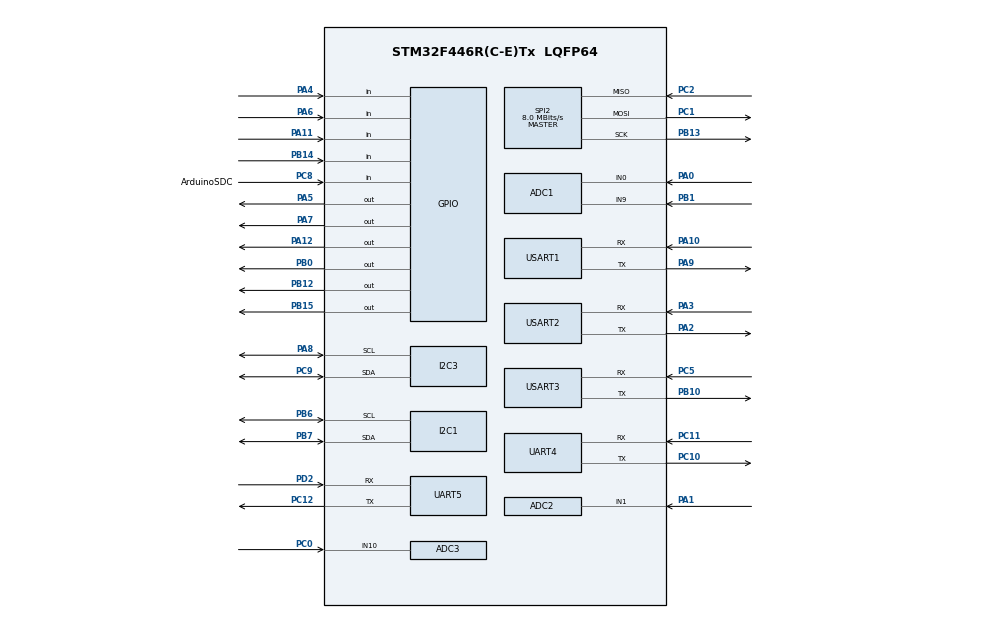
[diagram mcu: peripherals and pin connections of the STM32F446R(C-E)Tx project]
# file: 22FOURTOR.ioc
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ADC1.Channel-1\#ChannelRegularConversion=ADC_CHANNEL_0
ADC1.Channel-2\#ChannelRegularConversion=ADC_CHANNEL_9
ADC1.ContinuousConvMode=ENABLE
ADC1.NbrOfConversion=2
ADC1.NbrOfConversionFlag=1
ADC1.Rank-1\#ChannelRegularConversion=1
ADC1.Rank-2\#ChannelRegularConversion=2
ADC1.SamplingTime-1\#ChannelRegularConversion=ADC_SAMPLETIME_3CYCLES
ADC1.SamplingTime-2\#ChannelRegularConversion=ADC_SAMPLETIME_15CYCLES
ADC1.master=1
ADC2.Channel-5\#ChannelRegularConversion=ADC_CHANNEL_1
ADC2.NbrOfConversionFlag=1
ADC2.Rank-5\#ChannelRegularConversion=1
ADC2.SamplingTime-5\#ChannelRegularConversion=ADC_SAMPLETIME_3CYCLES
ADC3.Channel-3\#ChannelRegularConversion=ADC_CHANNEL_10
ADC3.NbrOfConversionFlag=1
ADC3.Rank-3\#ChannelRegularConversion=1
ADC3.SamplingTime-3\#ChannelRegularConversion=ADC_SAMPLETIME_3CYCLES
Mcu.Family=STM32F4
Mcu.Name=STM32F446R(C-E)Tx
Mcu.Package=LQFP64
NVIC.PriorityGroup=NVIC_PRIORITYGROUP_4
PA0-WKUP.Signal=ADCx_IN0
PA1.Signal=ADCx_IN1
PA10.Mode=Asynchronous
PA10.Signal=USART1_RX
PA11.Signal=GPIO_Input
PA12.Signal=GPIO_Output
PA2.Mode=Asynchronous
PA2.Signal=USART2_TX
PA3.Mode=Asynchronous
PA3.Signal=USART2_RX
PA4.Signal=GPIO_Input
PA5.Signal=GPIO_Output
PA6.Signal=GPIO_Input
PA7.Signal=GPIO_Output
PA8.GPIO_Mode=GPIO_MODE_AF_OD
PA8.GPIO_PuPdOD=GPIO_PULLUP
PA8.GPIO_Speed=GPIO_SPEED_FREQ_VERY_HIGH
PA8.Mode=I2C
PA8.Signal=I2C3_SCL
PA9.Mode=Asynchronous
PA9.Signal=USART1_TX
PB0.Signal=GPIO_Output
PB1.Signal=ADCx_IN9
PB10.Mode=Asynchronous
PB10.Signal=USART3_TX
PB12.GPIO_ModeDefaultOutputPP=GPIO_MODE_OUTPUT_PP
PB12.GPIO_PuPd=GPIO_NOPULL
PB12.GPIO_Speed=GPIO_SPEED_FREQ_LOW
PB12.PinState=GPIO_PIN_RESET
PB12.Signal=GPIO_Output
PB13.Mode=Full_Duplex_Master
PB13.Signal=SPI2_SCK
PB14.Signal=GPIO_Input
PB15.Signal=GPIO_Output
PB6.Mode=I2C
PB6.Signal=I2C1_SCL
PB7.Mode=I2C
PB7.Signal=I2C1_SDA
PC0.Signal=ADCx_IN10
PC1.Mode=Full_Duplex_Master
PC1.Signal=SPI2_MOSI
PC10.Mode=Asynchronous
PC10.Signal=UART4_TX
PC11.Mode=Asynchronous
PC11.Signal=UART4_RX
PC12.Mode=Asynchronous
PC12.Signal=UART5_TX
PC2.Mode=Full_Duplex_Master
PC2.Signal=SPI2_MISO
PC5.Mode=Asynchronous
PC5.Signal=USART3_RX
PC8.GPIO_Label=ArduinoSDC
PC8.Signal=GPIO_Input
PC9.GPIO_Mode=GPIO_MODE_AF_OD
PC9.GPIO_PuPdOD=GPIO_PULLUP
PC9.GPIO_Speed=GPIO_SPEED_FREQ_VERY_HIGH
PC9.Mode=I2C
PC9.Signal=I2C3_SDA
PD2.Mode=Asynchronous
PD2.Signal=UART5_RX
ProjectManager.HeapSize=0x200
ProjectManager.StackSize=0x400
ProjectManager.TargetToolchain=STM32CubeIDE
RCC.CortexFreq_Value=16000000
RCC.USBFreq_Value=96000000
RCC.VCOOutputFreq_Value=192000000
SH.ADCx_IN0.0=ADC1_IN0,IN0
SH.ADCx_IN1.0=ADC2_IN1,IN1
SH.ADCx_IN10.0=ADC3_IN10,IN10
SH.ADCx_IN9.0=ADC1_IN9,IN9
SPI2.CalculateBaudRate=8.0 MBits/s
SPI2.Direction=SPI_DIRECTION_2LINES
SPI2.Mode=SPI_MODE_MASTER
SPI2.VirtualType=VM_MASTER
UART4.VirtualMode=Asynchronous
UART5.VirtualMode=Asynchronous
USART1.VirtualMode=VM_ASYNC
USART2.VirtualMode=VM_ASYNC
USART3.VirtualMode=VM_ASYNC
board=custom

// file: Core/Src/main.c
/* USER CODE BEGIN Header */
/**
 ******************************************************************************
 * @file           : main.c
 * @brief          : Main program body
 ******************************************************************************
 * @attention
 *
 * <h2><center>&copy; Copyright (c) 2022 STMicroelectronics.
 * All rights reserved.</center></h2>
 *
 * This software component is licensed by ST under BSD 3-Clause license,
 * the "License"; You may not use this file except in compliance with the
 * License. You may obtain a copy of the License at:
 *                        opensource.org/licenses/BSD-3-Clause
 *
 ******************************************************************************
 */
/* USER CODE END Header */
#include "main.h"

/* USER CODE BEGIN Includes */
#include "stdio.h"
#include "math.h"
#include "stm32f4xx_hal.h"
#include "stdio.h"
#include "string.h"
#include "bno055.h"
#include "bno055_stm32.h"
#include "CANSPI.h"
#include "MCP2515.h"
#include <stdlib.h>
#include "i2c-lcd.h"
#include "stm32_tm1637.h"
#include "i2c.h"
#include "wifi_ubidots.h"

/* USER CODE END Includes */

/* USER CODE BEGIN PTD */
#define min(a,b) (((a) < (b)) ? (a) : (b))
#define max(a,b) (((a) > (b)) ? (a) : (b))
/* USER CODE END PTD */

ADC_HandleTypeDef hadc1;
ADC_HandleTypeDef hadc2;
ADC_HandleTypeDef hadc3;

I2C_HandleTypeDef hi2c1;
I2C_HandleTypeDef hi2c3;

SPI_HandleTypeDef hspi2;

UART_HandleTypeDef huart4;
UART_HandleTypeDef huart5;
UART_HandleTypeDef huart1;
UART_HandleTypeDef huart2;
UART_HandleTypeDef huart3;

void SystemClock_Config(void);
static void MX_GPIO_Init(void);
static void MX_SPI2_Init(void);
static void MX_USART2_UART_Init(void);
static void MX_UART4_Init(void);
static void MX_USART3_UART_Init(void);
static void MX_UART5_Init(void);
static void MX_ADC1_Init(void);
static void MX_USART1_UART_Init(void);
static void MX_ADC3_Init(void);
static void MX_ADC2_Init(void);

/* USER CODE BEGIN 0 */

/*
int32_t vADC1;
int32_t vADC2;
int32_t vADC3;
 */

// VALUE :  correlated to battery pack's temperature

#define ADC1_Channel_num 2
int ADCval;

float TempTest;
float Temp;
float Temp_conversion;

float vADC1[ADC1_Channel_num];
float vADC2;
float vADC3;
float Btemp;						// average temperature from 4 ADC to temp value

char buffer[100]=" ";				// buffer to read each battery pack's temperature
char string_temperature[6];			// buffer to send average temperature of 4 battery pack
char string_voltage[6];				// buffer to read each battery pack's voltage

char IMU[100]=" ";

int row;							// row line at LCD
int col;							// column line at LCD

uint8_t receive_data[7];			// received buffer from Arduino Master BMS
float percent_of_batt;				// percentage value of batter voltage

/* VALUE : CANOPEN

uCAN_MSG txMessage;
uCAN_MSG rxMessage;

uint32_t RPM;
float torque;
float temp;

 */

uint8_t Rbuff[100];
uint8_t msg[256];
uint8_t Tbuff[256];
uint8_t TempBuff[256];

void PrintString(uint8_t * string)
{
	HAL_UART_Transmit(&huart2, (uint8_t *)string, strlen((char *)string), 0xffff);
}

// void CANopen(void);
void ADC1_Select_CH0(void);
void ADC1_Select_CH9(void);
float ADCtoTemp(float ADCval);

char str[100]="22 KSAE FOURTOR\r\n";

// char bad[100]="Thermal Protector : DISCONNECTED\r\n";
// char good[100]="Thermal Protector : CONNECTED\r\n";
// char bms[100]="Receive BMS signal from Arudino\r\n";

char BMSbuff[100]="";

/* USER CODE END 0 */

int main(void)
{

	/* MCU Configuration--------------------------------------------------------*/

	/* Reset of all peripherals, Initializes the Flash interface and the Systick. */
	HAL_Init();

	/* Configure the system clock */
	SystemClock_Config();

	/* Initialize all configured peripherals */
	MX_GPIO_Init();
	MX_I2C1_Init();
	MX_SPI2_Init();
	MX_USART2_UART_Init();
	MX_UART4_Init();
	MX_USART3_UART_Init();
	MX_UART5_Init();
	MX_ADC1_Init();
	MX_I2C3_Init();
	MX_USART1_UART_Init();
	MX_ADC3_Init();
	MX_ADC2_Init();

	/* USER CODE BEGIN 2 */
	PrintString(str);

//	CANSPI_Initialize();

	lcd_init();
	lcd_clear();
	HAL_Delay(20);
	lcd_put_cur(0,0);
	HAL_Delay(20);
	lcd_send_string((char*)"B.Temp: init");
	lcd_put_cur(1,0);
	HAL_Delay(20);
	lcd_send_string((char*)"B.Vol: init");

	tm1637Init();
	tm1637SetBrightness(5);

	// ------------------------------------ **** IMU Setting ****------------------------------------

	bno055_calibration_data_t calData;
	bno055_assignI2C(&hi2c3);
	bno055_setup();
	bno055_setCalibrationData(calData);//Set init
	bno055_setOperationMode(BNO055_OPERATION_MODE_IMU);//작동 모드
	// bno055_setPowerMode(BNO55_POWER_MODE_LOWPOWER);//파워 모드

	// WifiSetup();

	/* USER CODE END 2 */

	/* Infinite loop */
	/* USER CODE BEGIN WHILE */
	while (1)
	{
		//------------------------------------ **** CANopen Setting ****------------------------------------//

		// CANopen();

		//------------------------------------ **** Temperature sensing ****------------------------------------//

		/* [seki 22] Digital signal pin
		 * Temperature signal using seki 22
		 */

		HAL_GPIO_WritePin(GPIOA, GPIO_PIN_5, GPIO_PIN_SET);
		GPIO_PinState PinStat_seg1 = HAL_GPIO_ReadPin(GPIOA, GPIO_PIN_4);

		HAL_GPIO_WritePin(GPIOA, GPIO_PIN_7, GPIO_PIN_SET);
		GPIO_PinState PinStat_seg2 = HAL_GPIO_ReadPin(GPIOA, GPIO_PIN_6);

		HAL_GPIO_WritePin(GPIOB, GPIO_PIN_15, GPIO_PIN_SET);
		GPIO_PinState PinStat_seg3 = HAL_GPIO_ReadPin(GPIOB, GPIO_PIN_14);

		HAL_GPIO_WritePin(GPIOA, GPIO_PIN_12, GPIO_PIN_SET);
		GPIO_PinState PinStat_seg4 = HAL_GPIO_ReadPin(GPIOA, GPIO_PIN_11);

		GPIO_PinState Thermal=(PinStat_seg1&&PinStat_seg2)&&(PinStat_seg3&&PinStat_seg4);

		/*
		GPIO_PinState PinStat=PinStat_seg4;

		if(!PinStat){
			PrintString(bad);
		}
		PrintString(good);
		 */

		/*		[NTC] analog read pin
		 * 		Code for ADC1
		HAL_ADC_Start(&hadc1);
		if(HAL_ADC_PollForConversion(&hadc1, 5)==HAL_OK)
		{
			vADC1 = HAL_ADC_GetValue(&hadc1);
			Btemp = vADC1 * (3.3/4095);
			Btemp = (Btemp *9840)/(3.3-Btemp);

			Btemp = (298.15*3700)/(298.15*log(9840/Btemp)+3700);
			Btemp = Btemp - 273.15;

			sprintf(buffer,"ADC 1 : %.2f \r\n",Btemp);
		}
		if (isnan(Btemp) == 0)
		{
			HAL_UART_Transmit(&huart2,(uint8_t*)buffer,sizeof(buffer),1000);
			HAL_Delay(100);
		}
		*/
		/*

		HAL_ADC_Start(&hadc2);
		if(HAL_ADC_PollForConversion(&hadc2, 5)==HAL_OK)
		{
			vADC2 = HAL_ADC_GetValue(&hadc2);
			vADC2 = vADC2 * (3.3/4095);
			vADC2 = (vADC2 *9840)/(3.3-vADC2);

			vADC2 = (298.15*3700)/(298.15*log(9840/vADC2)+3700);
			vADC2 = vADC2 - 273.15;
		}

		HAL_ADC_Start(&hadc3);
		if(HAL_ADC_PollForConversion(&hadc3, 5)==HAL_OK)
		{
			vADC3 = HAL_ADC_GetValue(&hadc3);
			vADC3 = vADC3 * (3.3/4095);
			vADC3 = (vADC3 *9840)/(3.3-vADC3);

			vADC3 = (298.15*3700)/(298.15*log(9840/vADC3)+3700);
			vADC3 = vADC3 - 273.15;

		}
		sprintf(buffer,"ADC 2 : %.2f \r\n",vADC2);
		if (isnan(vADC1[1]) == 0)
		{
			HAL_UART_Transmit(&huart2,(uint8_t*)buffer,sizeof(buffer),1000);
			HAL_Delay(100);
		}
		*/

		ADC1_Select_CH0();
		HAL_ADC_Start(&hadc1);
		HAL_ADC_PollForConversion(&hadc1,1000);
		vADC1[0]=HAL_ADC_GetValue(&hadc1);
		HAL_ADC_Stop(&hadc1);
		vADC1[0] = ADCtoTemp(vADC1[0]);

		ADC1_Select_CH9();
		HAL_ADC_Start(&hadc1);
		HAL_ADC_PollForConversion(&hadc1,1000);
		vADC1[1]=HAL_ADC_GetValue(&hadc1);
		HAL_ADC_Stop(&hadc1);
		vADC1[1] = ADCtoTemp(vADC1[1]);

		HAL_ADC_Start(&hadc2);
		HAL_ADC_PollForConversion(&hadc2,5);
		vADC2=HAL_ADC_GetValue(&hadc2);
		HAL_ADC_Stop(&hadc2);
		vADC2 = ADCtoTemp(vADC2);

		HAL_ADC_Start(&hadc3);
		HAL_ADC_PollForConversion(&hadc3,5);
		vADC3=HAL_ADC_GetValue(&hadc3);
		HAL_ADC_Stop(&hadc3);
		vADC3 = ADCtoTemp(vADC3);

		Btemp = max(vADC1[0],vADC1[1]);
		Btemp = max(Btemp, vADC2);
		Btemp = max(Btemp, vADC3);

		// sprintf(buffer,"ADC1_CH0 : %.2f \r\nADC1_CH9 : %.2f\r\nADC2_CH1 : %.2f \r\nADC3_CH10: %.2f\r\nMAX: %.2f\r\n\n",vADC1[0],vADC1[1],vADC2,vADC3,Btemp);
		sprintf(buffer,"SEGMENT[1] : %f \r\nSEGMENT[2] : %f\r\nSEGMENT[3] : %f \r\nSEGMENT[4]: %f\r\nMAX: %f\r\n\n",vADC1[0],vADC1[1],vADC2,vADC3,Btemp);
		// PrintString(buffer);

		//------------------------------------ **** Master BMS ****------------------------------------//

		HAL_UART_Receive(&huart3,receive_data,7,200);						// Read Voltage and Celus temperature Data
		// sprintf(string_voltage,"%d.%dV",receive_data[1],receive_data[2]);	//Make String Voltage Data
		// sprintf(string_temperature,"%d'C",receive_data[0]);					//Make String temperature Data
		// HAL_UART_Transmit(&huart2,(char*)receive_data,strlen((char*)receive_data),1000);
		// HAL_UART_Transmit(&huart2,BMSbuff,strlen(BMSbuff),1000);

		// Tester
		/*
		sprintf(BMSbuff,"[1] : %c ",receive_data[0]);
		HAL_UART_Transmit(&huart2,BMSbuff,strlen(BMSbuff),1000);
		sprintf(BMSbuff,"[2] : %c ",receive_data[1]);
		HAL_UART_Transmit(&huart2,BMSbuff,strlen(BMSbuff),1000);
		sprintf(BMSbuff,"[3] : %c ",receive_data[2]);
		HAL_UART_Transmit(&huart2,BMSbuff,strlen(BMSbuff),1000);
		sprintf(BMSbuff,"[4] : %c ",receive_data[3]);
		HAL_UART_Transmit(&huart2,BMSbuff,strlen(BMSbuff),1000);
		sprintf(BMSbuff,"[5] : %c ",receive_data[4]);
		HAL_UART_Transmit(&huart2,BMSbuff,strlen(BMSbuff),1000);
		sprintf(BMSbuff,"[6] : %c ",receive_data[5]);
		HAL_UART_Transmit(&huart2,BMSbuff,strlen(BMSbuff),1000);
		sprintf(BMSbuff,"[7] : %c\n\r",receive_data[6]);
		HAL_UART_Transmit(&huart2,BMSbuff,strlen(BMSbuff),1000);
		HAL_Delay(100);
		*/

		// Transmit voltage value from Arduino
		sprintf(BMSbuff,"%c%c%c%c%c%c",receive_data[0],receive_data[1],receive_data[2],receive_data[3],receive_data[4],receive_data[5]);
		// HAL_UART_Transmit(&huart2,BMSbuff,strlen(BMSbuff),1000);

		//------------------------------------ **** Shut Down Circuit & Over load current shut down ****------------------------------------//

		HAL_GPIO_WritePin(GPIOB, GPIO_PIN_0, GPIO_PIN_SET);

		GPIO_PinState StateOfBMS = HAL_GPIO_ReadPin(GPIOC, GPIO_PIN_8);			// rx sig from Arduino
		GPIO_PinState SDC_ON = StateOfBMS && Thermal;

		//  check code for Arduino Uno SDC signal
		/*
		if(StateOfBMS){
			PrintString("BMS STATUS : OK\n\r");
		}
		else{
			PrintString("BMS STATUS : FAULT\n\r");
		}
		 */

		// check code for thermal protector
		/*
		if(Thermal){
			PrintString("THERMAL : OK\n\r");
		}
		else{
			PrintString("THERMAL : FAULT\n\r");
		}
		*/

		if(!SDC_ON)
		{
			// PrintString("SDC activate\n\r");
			HAL_GPIO_WritePin(GPIOB, GPIO_PIN_0, GPIO_PIN_RESET);			//  SDC 3output
		}

		//------------------------------------ **** BNO055 IMU sensor ****------------------------------------//
/*
		 bno055_vector_t gyro = bno055_getVectorGyroscope();
		 bno055_vector_t acc = bno055_getVectorAccelerometer();
		 bno055_vector_t v = bno055_getVectorEuler();
		 v = bno055_getVectorQuaternion();

		 sprintf(buffer,"%.2f,%.2f,%.2f\r\n",gyro.x,gyro.y,gyro.z);
		 PrintString(buffer);
		 HAL_Delay(100);
*/
		bno055_vector_t v = bno055_getVectorEuler();
		sprintf(IMU,"Yaw: %.2f Roll: %.2f Pitch: %.2f\r\n", v.x, v.y, v.z);
		PrintString(IMU);
		// v = bno055_getVectorQuaternion();
		// sprintf("W: %.2f X: %.2f Y: %.2f Z: %.2f\r\n", v.w, v.x, v.y, v.z);
		HAL_Delay(100);
		//------------------------------------ **** 7 Segment Setting ****------------------------------------//
		// Before : RPM from motor
		// After  : percentage value from Arduino Master BMS

		float total_v  = atof(BMSbuff);
		percent_of_batt = (double)(total_v - 78.4)*2.55;
		tm1637DisplayDecimal(percent_of_batt,0); // second argument for ":"

		//------------------------------------ **** LCD Setting ****------------------------------------//

		lcd_put_cur(0,7);							// Move Cursor
		// HAL_Delay(50);
		sprintf(string_temperature,"%.2f   ",Btemp);	// Make String for Temperature Data
		lcd_send_string((char*)string_temperature); // Battery Temperature

		lcd_put_cur(1,7);
		// HAL_Delay(50);
		// sprintf(string_voltage,"%d     ",4);		// Make String for Voltage Data
		// lcd_send_string((char*)string_voltage); 	// Battery Voltage
		lcd_send_string((char*)BMSbuff);

		//------------------------------------ **** Telemetry using WiFi-Ubidots ****------------------------------------//

		// WifiUbidots();

		/* USER CODE END WHILE */

	}
}

void SystemClock_Config(void)
{
	RCC_OscInitTypeDef RCC_OscInitStruct = {0};
	RCC_ClkInitTypeDef RCC_ClkInitStruct = {0};

	/** Configure the main internal regulator output voltage
	 */
	__HAL_RCC_PWR_CLK_ENABLE();
	__HAL_PWR_VOLTAGESCALING_CONFIG(PWR_REGULATOR_VOLTAGE_SCALE3);
	/** Initializes the RCC Oscillators according to the specified parameters
	 * in the RCC_OscInitTypeDef structure.
	 */
	RCC_OscInitStruct.OscillatorType = RCC_OSCILLATORTYPE_HSI;
	RCC_OscInitStruct.HSIState = RCC_HSI_ON;
	RCC_OscInitStruct.HSICalibrationValue = RCC_HSICALIBRATION_DEFAULT;
	RCC_OscInitStruct.PLL.PLLState = RCC_PLL_NONE;
	if (HAL_RCC_OscConfig(&RCC_OscInitStruct) != HAL_OK)
	{
		Error_Handler();
	}
	/** Initializes the CPU, AHB and APB buses clocks
	 */
	RCC_ClkInitStruct.ClockType = RCC_CLOCKTYPE_HCLK|RCC_CLOCKTYPE_SYSCLK
			|RCC_CLOCKTYPE_PCLK1|RCC_CLOCKTYPE_PCLK2;
	RCC_ClkInitStruct.SYSCLKSource = RCC_SYSCLKSOURCE_HSI;
	RCC_ClkInitStruct.AHBCLKDivider = RCC_SYSCLK_DIV1;
	RCC_ClkInitStruct.APB1CLKDivider = RCC_HCLK_DIV1;
	RCC_ClkInitStruct.APB2CLKDivider = RCC_HCLK_DIV1;

	if (HAL_RCC_ClockConfig(&RCC_ClkInitStruct, FLASH_LATENCY_0) != HAL_OK)
	{
		Error_Handler();
	}
}

static void MX_ADC1_Init(void)
{

	ADC_ChannelConfTypeDef sConfig = {0};

	/** Configure the global features of the ADC (Clock, Resolution, Data Alignment and number of conversion)
	 */
	hadc1.Instance = ADC1;
	hadc1.Init.ClockPrescaler = ADC_CLOCK_SYNC_PCLK_DIV2;
	hadc1.Init.Resolution = ADC_RESOLUTION_12B;
	hadc1.Init.ScanConvMode = ENABLE;
	hadc1.Init.ContinuousConvMode = ENABLE;
	hadc1.Init.DiscontinuousConvMode = DISABLE;
	hadc1.Init.ExternalTrigConvEdge = ADC_EXTERNALTRIGCONVEDGE_NONE;
	hadc1.Init.ExternalTrigConv = ADC_SOFTWARE_START;
	hadc1.Init.DataAlign = ADC_DATAALIGN_RIGHT;
	hadc1.Init.NbrOfConversion = 2;
	hadc1.Init.DMAContinuousRequests = DISABLE;
	hadc1.Init.EOCSelection = ADC_EOC_SINGLE_CONV;
	if (HAL_ADC_Init(&hadc1) != HAL_OK)
	{
		Error_Handler();
	}
	/** Configure for the selected ADC regular channel its corresponding rank in the sequencer and its sample time.
	 */
	sConfig.Channel = ADC_CHANNEL_0;
	sConfig.Rank = 1;
	sConfig.SamplingTime = ADC_SAMPLETIME_3CYCLES;
	if (HAL_ADC_ConfigChannel(&hadc1, &sConfig) != HAL_OK)
	{
		Error_Handler();
	}
	/** Configure for the selected ADC regular channel its corresponding rank in the sequencer and its sample time.
	 */
	sConfig.Channel = ADC_CHANNEL_9;
	sConfig.Rank = 2;
	sConfig.SamplingTime = ADC_SAMPLETIME_15CYCLES;
	if (HAL_ADC_ConfigChannel(&hadc1, &sConfig) != HAL_OK)
	{
		Error_Handler();
	}

}

static void MX_ADC2_Init(void)
{

	ADC_ChannelConfTypeDef sConfig = {0};

	/** Configure the global features of the ADC (Clock, Resolution, Data Alignment and number of conversion)
	 */
	hadc2.Instance = ADC2;
	hadc2.Init.ClockPrescaler = ADC_CLOCK_SYNC_PCLK_DIV2;
	hadc2.Init.Resolution = ADC_RESOLUTION_12B;
	hadc2.Init.ScanConvMode = DISABLE;
	hadc2.Init.ContinuousConvMode = DISABLE;
	hadc2.Init.DiscontinuousConvMode = DISABLE;
	hadc2.Init.ExternalTrigConvEdge = ADC_EXTERNALTRIGCONVEDGE_NONE;
	hadc2.Init.ExternalTrigConv = ADC_SOFTWARE_START;
	hadc2.Init.DataAlign = ADC_DATAALIGN_RIGHT;
	hadc2.Init.NbrOfConversion = 1;
	hadc2.Init.DMAContinuousRequests = DISABLE;
	hadc2.Init.EOCSelection = ADC_EOC_SINGLE_CONV;
	if (HAL_ADC_Init(&hadc2) != HAL_OK)
	{
		Error_Handler();
	}
	/** Configure for the selected ADC regular channel its corresponding rank in the sequencer and its sample time.
	 */
	sConfig.Channel = ADC_CHANNEL_1;
	sConfig.Rank = 1;
	sConfig.SamplingTime = ADC_SAMPLETIME_3CYCLES;
	if (HAL_ADC_ConfigChannel(&hadc2, &sConfig) != HAL_OK)
	{
		Error_Handler();
	}

}

static void MX_ADC3_Init(void)
{

	ADC_ChannelConfTypeDef sConfig = {0};

	/** Configure the global features of the ADC (Clock, Resolution, Data Alignment and number of conversion)
	 */
	hadc3.Instance = ADC3;
	hadc3.Init.ClockPrescaler = ADC_CLOCK_SYNC_PCLK_DIV2;
	hadc3.Init.Resolution = ADC_RESOLUTION_12B;
	hadc3.Init.ScanConvMode = DISABLE;
	hadc3.Init.ContinuousConvMode = DISABLE;
	hadc3.Init.DiscontinuousConvMode = DISABLE;
	hadc3.Init.ExternalTrigConvEdge = ADC_EXTERNALTRIGCONVEDGE_NONE;
	hadc3.Init.ExternalTrigConv = ADC_SOFTWARE_START;
	hadc3.Init.DataAlign = ADC_DATAALIGN_RIGHT;
	hadc3.Init.NbrOfConversion = 1;
	hadc3.Init.DMAContinuousRequests = DISABLE;
	hadc3.Init.EOCSelection = ADC_EOC_SINGLE_CONV;
	if (HAL_ADC_Init(&hadc3) != HAL_OK)
	{
		Error_Handler();
	}
	/** Configure for the selected ADC regular channel its corresponding rank in the sequencer and its sample time.
	 */
	sConfig.Channel = ADC_CHANNEL_10;
	sConfig.Rank = 1;
	sConfig.SamplingTime = ADC_SAMPLETIME_3CYCLES;
	if (HAL_ADC_ConfigChannel(&hadc3, &sConfig) != HAL_OK)
	{
		Error_Handler();
	}

}

static void MX_SPI2_Init(void)
{

	/* USER CODE BEGIN SPI2_Init 0 */
	//
	/* USER CODE END SPI2_Init 0 */

	/* USER CODE BEGIN SPI2_Init 1 */
	//
	/* USER CODE END SPI2_Init 1 */
	/* SPI2 parameter configuration*/
	hspi2.Instance = SPI2;
	hspi2.Init.Mode = SPI_MODE_MASTER;
	hspi2.Init.Direction = SPI_DIRECTION_2LINES;
	hspi2.Init.DataSize = SPI_DATASIZE_8BIT;
	hspi2.Init.CLKPolarity = SPI_POLARITY_LOW;
	hspi2.Init.CLKPhase = SPI_PHASE_1EDGE;
	hspi2.Init.NSS = SPI_NSS_SOFT;
	hspi2.Init.BaudRatePrescaler = SPI_BAUDRATEPRESCALER_2;
	hspi2.Init.FirstBit = SPI_FIRSTBIT_MSB;
	hspi2.Init.TIMode = SPI_TIMODE_DISABLE;
	hspi2.Init.CRCCalculation = SPI_CRCCALCULATION_DISABLE;
	hspi2.Init.CRCPolynomial = 10;
	if (HAL_SPI_Init(&hspi2) != HAL_OK)
	{
		Error_Handler();
	}
	/* USER CODE BEGIN SPI2_Init 2 */
	//
	/* USER CODE END SPI2_Init 2 */

}

static void MX_UART4_Init(void)
{

	huart4.Instance = UART4;
	huart4.Init.BaudRate = 115200;
	huart4.Init.WordLength = UART_WORDLENGTH_8B;
	huart4.Init.StopBits = UART_STOPBITS_1;
	huart4.Init.Parity = UART_PARITY_NONE;
	huart4.Init.Mode = UART_MODE_TX_RX;
	huart4.Init.HwFlowCtl = UART_HWCONTROL_NONE;
	huart4.Init.OverSampling = UART_OVERSAMPLING_16;
	if (HAL_UART_Init(&huart4) != HAL_OK)
	{
		Error_Handler();
	}

}

static void MX_UART5_Init(void)
{

	huart5.Instance = UART5;
	huart5.Init.BaudRate = 115200;
	huart5.Init.WordLength = UART_WORDLENGTH_8B;
	huart5.Init.StopBits = UART_STOPBITS_1;
	huart5.Init.Parity = UART_PARITY_NONE;
	huart5.Init.Mode = UART_MODE_TX_RX;
	huart5.Init.HwFlowCtl = UART_HWCONTROL_NONE;
	huart5.Init.OverSampling = UART_OVERSAMPLING_16;
	if (HAL_UART_Init(&huart5) != HAL_OK)
	{
		Error_Handler();
	}

}

static void MX_USART1_UART_Init(void)
{

	huart1.Instance = USART1;
	huart1.Init.BaudRate = 115200;
	huart1.Init.WordLength = UART_WORDLENGTH_8B;
	huart1.Init.StopBits = UART_STOPBITS_1;
	huart1.Init.Parity = UART_PARITY_NONE;
	huart1.Init.Mode = UART_MODE_TX_RX;
	huart1.Init.HwFlowCtl = UART_HWCONTROL_NONE;
	huart1.Init.OverSampling = UART_OVERSAMPLING_16;
	if (HAL_UART_Init(&huart1) != HAL_OK)
	{
		Error_Handler();
	}

}

static void MX_USART2_UART_Init(void)
{

	huart2.Instance = USART2;
	huart2.Init.BaudRate = 115200;
	huart2.Init.WordLength = UART_WORDLENGTH_8B;
	huart2.Init.StopBits = UART_STOPBITS_1;
	huart2.Init.Parity = UART_PARITY_NONE;
	huart2.Init.Mode = UART_MODE_TX_RX;
	huart2.Init.HwFlowCtl = UART_HWCONTROL_NONE;
	huart2.Init.OverSampling = UART_OVERSAMPLING_16;
	if (HAL_UART_Init(&huart2) != HAL_OK)
	{
		Error_Handler();
	}

}

static void MX_USART3_UART_Init(void)
{

	huart3.Instance = USART3;
	huart3.Init.BaudRate = 115200;
	huart3.Init.WordLength = UART_WORDLENGTH_8B;
	huart3.Init.StopBits = UART_STOPBITS_1;
	huart3.Init.Parity = UART_PARITY_NONE;
	huart3.Init.Mode = UART_MODE_TX_RX;
	huart3.Init.HwFlowCtl = UART_HWCONTROL_NONE;
	huart3.Init.OverSampling = UART_OVERSAMPLING_16;
	if (HAL_UART_Init(&huart3) != HAL_OK)
	{
		Error_Handler();
	}

}

static void MX_GPIO_Init(void)
{
	GPIO_InitTypeDef GPIO_InitStruct = {0};

	/* GPIO Ports Clock Enable */
	__HAL_RCC_GPIOC_CLK_ENABLE();
	__HAL_RCC_GPIOA_CLK_ENABLE();
	__HAL_RCC_GPIOB_CLK_ENABLE();
	__HAL_RCC_GPIOD_CLK_ENABLE();

	/*Configure GPIO pin Output Level */
	HAL_GPIO_WritePin(GPIOA, GPIO_PIN_5|GPIO_PIN_7|GPIO_PIN_12, GPIO_PIN_RESET);

	/*Configure GPIO pin Output Level */
	HAL_GPIO_WritePin(GPIOB, GPIO_PIN_0|GPIO_PIN_12|GPIO_PIN_15, GPIO_PIN_RESET);

	/*Configure GPIO pins : PA4 PA6 PA11 */
	GPIO_InitStruct.Pin = GPIO_PIN_4|GPIO_PIN_6|GPIO_PIN_11;
	GPIO_InitStruct.Mode = GPIO_MODE_INPUT;
	GPIO_InitStruct.Pull = GPIO_NOPULL;
	HAL_GPIO_Init(GPIOA, &GPIO_InitStruct);

	/*Configure GPIO pins : PA5 PA7 PA12 */
	GPIO_InitStruct.Pin = GPIO_PIN_5|GPIO_PIN_7|GPIO_PIN_12;
	GPIO_InitStruct.Mode = GPIO_MODE_OUTPUT_PP;
	GPIO_InitStruct.Pull = GPIO_NOPULL;
	GPIO_InitStruct.Speed = GPIO_SPEED_FREQ_LOW;
	HAL_GPIO_Init(GPIOA, &GPIO_InitStruct);

	/*Configure GPIO pins : PB0 PB12 PB15 */
	GPIO_InitStruct.Pin = GPIO_PIN_0|GPIO_PIN_12|GPIO_PIN_15;
	GPIO_InitStruct.Mode = GPIO_MODE_OUTPUT_PP;
	GPIO_InitStruct.Pull = GPIO_NOPULL;
	GPIO_InitStruct.Speed = GPIO_SPEED_FREQ_LOW;
	HAL_GPIO_Init(GPIOB, &GPIO_InitStruct);

	/*Configure GPIO pin : PB14 */
	GPIO_InitStruct.Pin = GPIO_PIN_14;
	GPIO_InitStruct.Mode = GPIO_MODE_INPUT;
	GPIO_InitStruct.Pull = GPIO_NOPULL;
	HAL_GPIO_Init(GPIOB, &GPIO_InitStruct);

	/*Configure GPIO pin : ArduinoSDC_Pin */
	GPIO_InitStruct.Pin = ArduinoSDC_Pin;
	GPIO_InitStruct.Mode = GPIO_MODE_INPUT;
	GPIO_InitStruct.Pull = GPIO_NOPULL;
	HAL_GPIO_Init(ArduinoSDC_GPIO_Port, &GPIO_InitStruct);

}

/* USER CODE BEGIN 4 */
/*
void CANopen(void){
	txMessage.frame.id=0x80;		//0x81
	txMessage.frame.idType=0x00;
	txMessage.frame.dlc=8;
	txMessage.frame.data0=0x00;
	txMessage.frame.data1=0x00;
	txMessage.frame.data2=0x00;
	txMessage.frame.data3=0x00;
	txMessage.frame.data4=0x00;
	txMessage.frame.data5=0x00;
	txMessage.frame.data6=0x00;
	txMessage.frame.data7=0x00;
	CANSPI_Transmit(&txMessage);
	HAL_Delay(50);

	if(CANSPI_Receive(&rxMessage))
	{
		uint16_t RPM_1= ((uint16_t)rxMessage.frame.data1 << 8) | rxMessage.frame.data0;
		uint16_t RPM_2= ((uint16_t)rxMessage.frame.data3 << 8) | rxMessage.frame.data2;
		RPM=	((uint32_t)RPM_2 << 16) | RPM_1;

		// if(torque_buff!=0)PrintString("torque is not zero!\r\n");
		// TX torque doesn't work
		torque= ((uint16_t)rxMessage.frame.data7 << 8) | rxMessage.frame.data6;
		temp= ((uint16_t)rxMessage.frame.data5 << 8) | rxMessage.frame.data4;
		//   	uint16_t torque_buff= ((uint16_t)rxMessage.frame.data5 << 8) | rxMessage.frame.data4;
		//		uint16_t temp_buff= ((uint16_t)rxMessage.frame.data1 << 8) | rxMessage.frame.data0;

		sprintf(Rbuff,"RPM: %ld\r\n",RPM);
		sprintf(Tbuff,"Torque: %.2f \r\n",(float)torque*0.1);
		sprintf(TempBuff,"Temp:%.2f \r\n",temp);

		HAL_UART_Transmit(&huart2, (uint8_t*)Rbuff, sizeof(Rbuff), 100);
		HAL_UART_Transmit(&huart2, (uint8_t*)TempBuff, sizeof(TempBuff), 100);
		HAL_UART_Transmit(&huart2, (uint8_t*)Tbuff, sizeof(Tbuff), 100);

		if(RPM>=1000){
			HAL_UART_Transmit(&huart2, (uint8_t*)"RPM : warning\r\n", sizeof("RPM : warning\r\n"), 100);
		}
		else{
			HAL_UART_Transmit(&huart2, (uint8_t*)"RPM : normal\r\n", sizeof("RPM : normal\r\n"), 100);
		}

		if(temp>=80){
			HAL_UART_Transmit(&huart2, (uint8_t*)"Temperature : over-heat\r\n", sizeof("Temperature : over-heat\r\n"), 100);
		}
		else{
			HAL_UART_Transmit(&huart2, (uint8_t*)"Temperature : normal\r\n", sizeof("Temperature : normal\r\n"), 100);
		}
		HAL_UART_Transmit(&huart2, (uint8_t*)"\n", sizeof("\n"), 100);
		HAL_Delay(1000);
	}
//	else{
//		HAL_UART_Transmit(&huart2, (uint8_t*)"No CAN connection\r\n", sizeof("No CAN connection\r\n"), 100);
//	}
}
 */

void ADC1_Select_CH0(void)
{
	ADC_ChannelConfTypeDef sConfig={0};
	sConfig.Channel = ADC_CHANNEL_0;
	sConfig.Rank = 1;
	sConfig.SamplingTime = ADC_SAMPLETIME_3CYCLES;
	if (HAL_ADC_ConfigChannel(&hadc1, &sConfig) != HAL_OK)
	{
		Error_Handler();
	}
}

void ADC1_Select_CH9(void)
{
	ADC_ChannelConfTypeDef sConfig={0};
	sConfig.Channel = ADC_CHANNEL_9;
	sConfig.Rank = 1;
	sConfig.SamplingTime = ADC_SAMPLETIME_15CYCLES;
	if (HAL_ADC_ConfigChannel(&hadc1, &sConfig) != HAL_OK)
	{
		Error_Handler();
	}
}

float ADCtoTemp(float ADCval){
	float R = (50*100-10*100*ADCval)/ADCval;
	float T = 4073*298/(4073+298*log(R/10000));
	T -= 273.15;
	return T;

	/* Trial 1
	ADCval *= (5.0/4065);
	TempTest = ADCval*(10000/(5.0-ADCval));
	Temp = (1/298.15)+(1/4073)*log(TempTest/10000);
	Temp_conversion = 1/Temp;
	Temp_conversion -= 273.15;

	return Temp_conversion;
	 */
	/* Trial 2
	ADCval =ADCval*(3.3/4095);
	ADCval = (ADCval *9840)/(3.3-ADCval);

	ADCval = (298.15*3700)/(298.15*log(9840/ADCval)+3700);
	ADCval -= 273.15;

	return ADCval;
	 */

	/* Trial 3
		ADCval = (int)ADCval;
		R2 = 10000* (1023.0 / (float)ADCval-1.0);
		logR2 = log(R2);
		T = (1.0 / (c1 + c2*logR2 + c3*logR2*logR2*logR2));
		Tc = T - 273.15;
		Tf = (Tc * 9.0)/5.0 + 32.0;
		return Tc;
	 */

	/* Trial 4
	ADCval =ADCval*(5.0/4095);
	ADCval = (ADCval *9840)/(5.0-ADCval);

	ADCval = (298.15*4073)/(298.15*log(9840/ADCval)+4073);
	ADCval -= 273.15;

	return ADCval;
	*/
}

/* USER CODE END 4 */

void Error_Handler(void)
{
}

/************************ (C) COPYRIGHT STMicroelectronics *****END OF FILE****/
